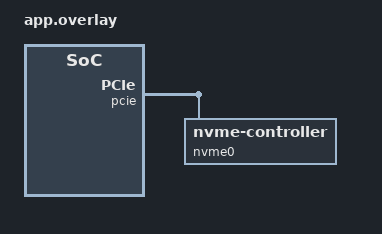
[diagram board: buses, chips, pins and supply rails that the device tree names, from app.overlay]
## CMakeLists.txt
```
cmake_minimum_required(VERSION 3.20.0)
find_package(Zephyr REQUIRED HINTS $ENV{ZEPHYR_BASE})
project(fes_embedded_base LANGUAGES C)
target_sources(app PRIVATE src/main.c)
target_compile_options(app PRIVATE -Wall -Wextra -Werror)

# Zephyr 4.2.0's NVMe controller includes an unused <soc.h>; qemu_cortex_a53
# provides no such header. Compile a local copy with only that include removed.
# The pinned upstream checkout remains untouched and all driver logic is kept.
get_target_property(disk_sources drivers__disk SOURCES)
list(FILTER disk_sources EXCLUDE REGEX "nvme_controller\\.c$")
set_property(TARGET drivers__disk PROPERTY SOURCES "${disk_sources}")
set(nvme_dir "${ZEPHYR_BASE}/drivers/disk/nvme")
file(SHA256 "${nvme_dir}/nvme_controller.c" nvme_original_sha256)
if(NOT nvme_original_sha256 STREQUAL "35b50200a5d391860096b2ae340e60f6e8dc82f12e8c34b6a12a9bb3e5b573e6")
  message(FATAL_ERROR "Pinned NVMe source changed; review the AArch64 adaptation")
endif()
file(READ "${nvme_dir}/nvme_controller.c" nvme_source)
string(REGEX MATCHALL "#include <soc.h>" nvme_soc_includes "${nvme_source}")
list(LENGTH nvme_soc_includes nvme_soc_include_count)
if(NOT nvme_soc_include_count EQUAL 1)
  message(FATAL_ERROR "Review the pinned NVMe source adaptation before changing Zephyr")
endif()
string(REPLACE "#include <soc.h>" "/* Unused SoC header omitted for AArch64. */"
       nvme_source "${nvme_source}")
# QEMU virt has no PCI-enumerating firmware to leave endpoint decode enabled.
# The upstream NVMe driver assumes that state; the E1000 driver sets it itself.
string(REPLACE "\t/* Allocating vectors */"
       "\tpcie_set_cmd(nvme_ctrlr_cfg->pcie->bdf, PCIE_CONF_CMDSTAT_MEM | PCIE_CONF_CMDSTAT_MASTER, true);\n\n\t/* Allocating vectors */"
       nvme_source "${nvme_source}")
file(WRITE "${CMAKE_CURRENT_BINARY_DIR}/nvme_controller_aarch64.c" "${nvme_source}")
target_sources(drivers__disk PRIVATE "${CMAKE_CURRENT_BINARY_DIR}/nvme_controller_aarch64.c")
target_include_directories(drivers__disk PRIVATE "${nvme_dir}")
```

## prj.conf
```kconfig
CONFIG_MAIN_STACK_SIZE=4096
# GICv3 LPI tables require 64 KiB-aligned allocations before the main thread.
CONFIG_HEAP_MEM_POOL_SIZE=1048576
CONFIG_SYSTEM_WORKQUEUE_STACK_SIZE=4096
CONFIG_SERIAL=y
CONFIG_CONSOLE=y
CONFIG_UART_CONSOLE=y
CONFIG_PRINTK=y
CONFIG_LOG=y

CONFIG_PCIE=y
CONFIG_PCIE_MSI=y
CONFIG_DYNAMIC_INTERRUPTS=y
CONFIG_GIC_V3_ITS=y
CONFIG_NVME=y
CONFIG_NVME_ADMIN_ENTRIES=16
CONFIG_NVME_IO_ENTRIES=16
CONFIG_NVME_REQUEST_TIMEOUT=5
CONFIG_DISK_ACCESS=y
CONFIG_FILE_SYSTEM=y
CONFIG_FAT_FILESYSTEM_ELM=y
CONFIG_FS_FATFS_READ_ONLY=y
CONFIG_FS_FATFS_MOUNT_MKFS=n
CONFIG_FS_FATFS_CUSTOM_MOUNT_POINT_COUNT=1
CONFIG_FS_FATFS_CUSTOM_MOUNT_POINTS="nvme0n0"

CONFIG_NETWORKING=y
CONFIG_NET_IPV4=y
CONFIG_NET_IPV6=n
CONFIG_NET_TCP=y
CONFIG_NET_UDP=n
CONFIG_NET_SOCKETS=y
CONFIG_NET_CONFIG_SETTINGS=y
CONFIG_NET_CONFIG_NEED_IPV4=y
CONFIG_NET_CONFIG_MY_IPV4_ADDR="10.0.2.15"
CONFIG_NET_CONFIG_MY_IPV4_NETMASK="255.255.255.0"
CONFIG_NET_CONFIG_MY_IPV4_GW="10.0.2.2"
CONFIG_NET_CONFIG_INIT_TIMEOUT=5
CONFIG_NET_MAX_CONTEXTS=4
CONFIG_NET_PKT_RX_COUNT=8
CONFIG_NET_PKT_TX_COUNT=8
CONFIG_NET_BUF_RX_COUNT=32
CONFIG_NET_BUF_TX_COUNT=32
CONFIG_TEST_RANDOM_GENERATOR=y
CONFIG_ENTROPY_GENERATOR=y
```

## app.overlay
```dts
/* QEMU test devices only; neither peripheral is the DE25-Nano controller. */
&pcie {
    nvme0: nvme@2,0 {
        compatible = "nvme-controller";
        vendor-id = <0x1b36>;
        device-id = <0x0010>;
        reg = <0x1000 0 0 0 0>;
        status = "okay";
    };
};
```

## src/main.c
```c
/* SPDX-License-Identifier: GPL-3.0-or-later */
/* Hardware-independent base-services experiment. No FPGA programming path. */
#include <zephyr/device.h>
#include <zephyr/fs/fs.h>
#include <zephyr/kernel.h>
#include <zephyr/net/socket.h>
#include <zephyr/net/net_if.h>
#include <zephyr/storage/disk_access.h>
#include <ff.h>

#include <errno.h>
#include <stdbool.h>
#include <stdint.h>
#include <stdio.h>
#include <stdlib.h>
#include <string.h>

#define SERVICE_PORT 4242
#define REQUEST_BYTES 128
#define RESPONSE_BYTES 768
#define CONFIG_BYTES 128

static FATFS fat_fs;
static struct fs_mount_t mount = {
    .type = FS_FATFS,
    .fs_data = &fat_fs,
    .mnt_point = "/nvme0n0:",
    .flags = FS_MOUNT_FLAG_READ_ONLY | FS_MOUNT_FLAG_NO_FORMAT,
};

static bool storage_ready;
static bool config_ready;
static int storage_error;
static uint32_t last_sequence;
static uint16_t input_buttons;
static char boot_config[CONFIG_BYTES];
static char request[REQUEST_BYTES];
static char response[RESPONSE_BYTES];

static void load_boot_config(void)
{
    uint32_t sectors = 0, sector_bytes = 0;
    struct fs_file_t file;
    int ret;

    if (!device_is_ready(DEVICE_DT_GET(DT_NODELABEL(nvme0)))) {
        storage_error = -ENODEV;
        printk("FES_BASE storage unavailable: NVMe controller not ready\n");
        return;
    }
    ret = disk_access_init("nvme0n0");
    if (ret != 0) {
        storage_error = ret;
        return;
    }
    ret = disk_access_ioctl("nvme0n0", DISK_IOCTL_GET_SECTOR_COUNT, &sectors);
    if (ret == 0) {
        ret = disk_access_ioctl("nvme0n0", DISK_IOCTL_GET_SECTOR_SIZE, &sector_bytes);
    }
    if (ret != 0) {
        storage_error = ret;
        return;
    }
    ret = fs_mount(&mount);
    if (ret != 0) {
        storage_error = ret;
        return;
    }
    if (fat_fs.fs_type != FS_FAT32) {
        storage_error = -EPROTONOSUPPORT;
        (void)fs_unmount(&mount);
        return;
    }
    storage_ready = true;
    printk("FES_BASE STORAGE_READY filesystem=fat32 driver=nvme sectors=%u sector_bytes=%u\n",
           sectors, sector_bytes);
    fs_file_t_init(&file);
    ret = fs_open(&file, "/nvme0n0:/FESBOOT.CFG", FS_O_READ);
    if (ret != 0) {
        storage_error = ret;
        return;
    }
    ssize_t count = fs_read(&file, boot_config, sizeof(boot_config) - 1);
    unsigned char extra;
    ssize_t tail = count < 0 ? count : fs_read(&file, &extra, 1);
    int close_result = fs_close(&file);
    if (count <= 0 || tail != 0 || close_result != 0) {
        storage_error = count < 0 ? (int)count : -EINVAL;
        return;
    }
    boot_config[count] = '\0';
    static const char expected_config[] = "format=fes-base-v1\nlauncher=tenfoot\n";
    config_ready = count == (ssize_t)(sizeof(expected_config) - 1) &&
                   memcmp(boot_config, expected_config, sizeof(expected_config) - 1) == 0;
    if (!config_ready) storage_error = -EINVAL;
    printk("FES_BASE storage=fat32 driver=nvme sectors=%u sector_bytes=%u config=%s\n",
           sectors, sector_bytes, config_ready ? "verified" : "invalid");
}

static bool parse_u32(const char **cursor, uint32_t *value)
{
    const char *start = *cursor;
    char *end;
    unsigned long number;

    if (*start < '0' || *start > '9') return false;
    errno = 0;
    number = strtoul(start, &end, 10);
    if (errno || number > UINT32_MAX || end == start) return false;
    *value = (uint32_t)number;
    *cursor = end;
    return true;
}

static void status_response(void)
{
    (void)snprintf(response, sizeof(response),
        "{\"protocol\":1,\"target\":\"qemu-virt\",\"cpu\":\"aarch64\","
        "\"os\":\"zephyr\",\"uptime_ms\":%lld,"
        "\"storage\":{\"driver\":\"nvme\",\"filesystem\":\"fat32\","
        "\"ready\":%s,\"boot_config\":%s,\"error\":%d},"
        "\"network\":\"e1000-tcp\",\"sdcard\":\"unavailable\","
        "\"usb\":\"unavailable\",\"fpga\":\"unavailable\","
        "\"input\":{\"route\":\"diagnostic-only\",\"sequence\":%u,\"buttons\":%u}}\n",
        (long long)k_uptime_get(), storage_ready ? "true" : "false",
        config_ready ? "true" : "false", storage_error, last_sequence, input_buttons);
}

static void handle_request(void)
{
    if (strcmp(request, "STATUS") == 0) {
        status_response();
    } else if (strncmp(request, "INPUT ", 6) == 0) {
        const char *cursor = request + 6;
        uint32_t sequence, buttons;
        bool valid = parse_u32(&cursor, &sequence) && *cursor++ == ' ' &&
                     parse_u32(&cursor, &buttons) && *cursor == '\0' &&
                     buttons <= UINT16_MAX;
        if (!valid) {
            strcpy(response, "{\"error\":\"invalid-input\"}\n");
        } else if (sequence <= last_sequence) {
            strcpy(response, "{\"error\":\"stale-sequence\"}\n");
        } else {
            last_sequence = sequence;
            input_buttons = (uint16_t)buttons;
            strcpy(response, "{\"ok\":true,\"route\":\"diagnostic-only\"}\n");
        }
    } else if (strcmp(request, "FPGA") == 0 || strcmp(request, "USB") == 0 ||
               strcmp(request, "SDCARD") == 0) {
        strcpy(response, "{\"error\":\"unavailable\"}\n");
    } else {
        strcpy(response, "{\"error\":\"unknown-command\"}\n");
    }
}

static void serve_client(int client)
{
    /* A stalled peer may occupy this diagnostic for at most one second. */
    struct timeval timeout = {.tv_sec = 0, .tv_usec = 100000};
    if (zsock_setsockopt(client, SOL_SOCKET, SO_RCVTIMEO, &timeout, sizeof(timeout)) < 0 ||
        zsock_setsockopt(client, SOL_SOCKET, SO_SNDTIMEO, &timeout, sizeof(timeout)) < 0) {
        (void)zsock_close(client);
        return;
    }
    size_t used = 0;
    bool complete = false;
    int64_t deadline = k_uptime_get() + 1000;
    while (used + 1 < sizeof(request) && k_uptime_get() < deadline) {
        ssize_t n = zsock_recv(client, request + used, 1, 0);
        if (n != 1) break;
        if (request[used] == '\n') {
            complete = true;
            break;
        }
        if (request[used] == '\0' || request[used] == '\r') break;
        ++used;
    }
    request[used] = '\0';
    if (complete) {
        handle_request();
    } else {
        strcpy(response, "{\"error\":\"invalid-request\"}\n");
    }
    size_t length = strlen(response), sent = 0;
    while (sent < length && k_uptime_get() < deadline) {
        ssize_t n = zsock_send(client, response + sent, length - sent, 0);
        if (n <= 0) break;
        sent += (size_t)n;
    }
    (void)zsock_close(client);
}

int main(void)
{
    printk("FES_BASE boot target=qemu-virt os=zephyr scope=base-services\n");
    load_boot_config();
    struct net_if *interface = net_if_get_default();
    struct in_addr *local = interface ? net_if_ipv4_get_global_addr(interface, NET_ADDR_PREFERRED) : NULL;
    char local_text[NET_IPV4_ADDR_LEN] = "unavailable";
    if (local) (void)net_addr_ntop(AF_INET, local, local_text, sizeof(local_text));
    printk("FES_BASE network interface_up=%d ipv4=%s\n", interface && net_if_is_up(interface), local_text);
    int listener = zsock_socket(AF_INET, SOCK_STREAM, IPPROTO_TCP);
    if (listener < 0) {
        printk("FES_BASE FAIL socket errno=%d\n", errno);
        return 1;
    }
    struct sockaddr_in address = {
        .sin_family = AF_INET,
        .sin_port = htons(SERVICE_PORT),
        .sin_addr.s_addr = htonl(INADDR_ANY),
    };
    if (zsock_bind(listener, (struct sockaddr *)&address, sizeof(address)) < 0 ||
        zsock_listen(listener, 1) < 0) {
        printk("FES_BASE FAIL listen errno=%d\n", errno);
        (void)zsock_close(listener);
        return 1;
    }
    printk("FES_BASE READY tcp=%d storage=%s boot_config=%s\n", SERVICE_PORT,
           storage_ready ? "ready" : "unavailable", config_ready ? "verified" : "unavailable");
    for (;;) {
        int client = zsock_accept(listener, NULL, NULL);
        if (client >= 0) serve_client(client);
        else k_sleep(K_MSEC(10));
    }
}
```
